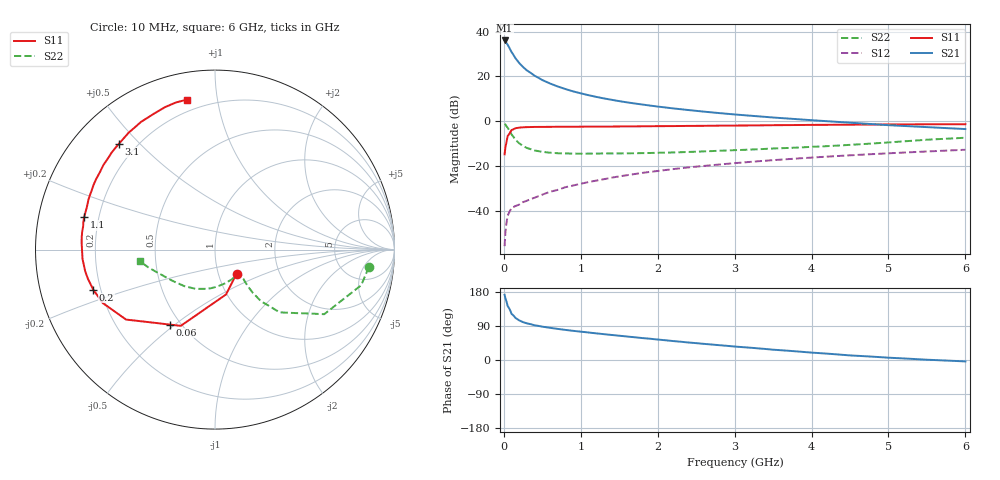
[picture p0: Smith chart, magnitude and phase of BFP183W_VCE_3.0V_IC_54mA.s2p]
! (c) 2017  Infineon Technologies AG, Munich
! Infineon Technologies  Discrete & RF Semiconductors
! BFP183W
! VCE =  3.0 V,  IC =  54 mA
! Common Emitter S-Parameters:  Jan 2017
# GHz  S  MA  R  50
!  f  S11  S21  S12  S22
! GHz  MAG  ANG  MAG  ANG  MAG  ANG  MAG  ANG
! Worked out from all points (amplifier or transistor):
!   77 points, 10 MHz to 6 GHz, reference 50 ohm
!   highest |S21| = 36.0 dB at 10 MHz (marker M1)
!   |S21| within 3 dB of that: start of sweep to 67.1 MHz
!   unconditionally stable (mu >= 1): start of sweep to 11.92 MHz; 389.4 MHz to 4.32 GHz
!   at 130 MHz: K = 0.53, MSG = 33.8 dB, |S12| = -38.3 dB
!   at 2.2 GHz: K = 1.17, MAG = 11.1 dB, |S12| = -21.5 dB
!   at 6 GHz: K = 0.93, MSG = 4.6 dB, |S12| = -12.8 dB
!   S11 on the Smith chart (normalised r, x): 10 MHz: 1.22, -0.34; 60 MHz: 0.44, -0.48; 200 MHz: 0.17, -0.16; 1.1 GHz: 0.14, +0.12; 3.1 GHz: 0.14, +0.44; 6 GHz: 0.14, +0.82
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0.01  0.1802 -47.9  63.38 172.0  0.0016 80.6  0.8629 -6.5
0.02  0.2575 -76.2  61.29 163.2  0.0032 84.3  0.8381 -13.7
0.05  0.4657 -114.2  50.89 142.4  0.0077 59.8  0.7071 -30.6
0.06  0.4878 -121.1  47.32 139.4  0.0084 57.1  0.6638 -32.6
0.1  0.6304 -141.8  34.97 121.8  0.0114 49.8  0.5026 -44.1
0.15  0.6924 -154.5  25.55 111.2  0.0126 45.8  0.3847 -48.3
0.2  0.7142 -161.8  19.82 104.5  0.0136 47.8  0.3181 -48.8
0.25  0.726 -166.9  16.13 99.9  0.0155 48.8  0.2771 -48.2
0.3  0.7332 -170.5  13.56 96.7  0.0166 49.9  0.2505 -47.2
0.4  0.7401 -176.0  10.31 91.6  0.0194 56.2  0.2203 -45.4
0.5  0.7407 -179.6  8.268 88.0  0.0227 58.9  0.2053 -44.5
0.6  0.7436 177.4  6.921 84.9  0.0263 60.7  0.1966 -44.4
0.7  0.7457 174.8  5.933 82.1  0.029 65.3  0.1911 -44.5
0.9  0.7458 170.1  4.614 77.0  0.0363 66.1  0.1876 -47.1
1.1  0.7511 165.9  3.793 72.6  0.0434 67.5  0.1878 -50.3
1.3  0.7518 162.0  3.21 68.2  0.0502 68.2  0.1889 -54.2
1.5  0.7579 158.5  2.791 64.1  0.0581 68.2  0.1889 -59.0
2.1  0.7711 147.8  2.015 52.1  0.0805 66.8  0.1971 -75.4
3.1  0.7961 132.3  1.363 34.0  0.1185 61.3  0.2269 -105.5
4.1  0.8232 118.8  1.02 18.2  0.1565 54.4  0.2701 -133.0
5.1  0.8422 108.4  0.794 5.1  0.1942 47.0  0.3427 -157.7
6  0.8503 100.6  0.663 -3.8  0.2287 39.9  0.4245 -171.5
